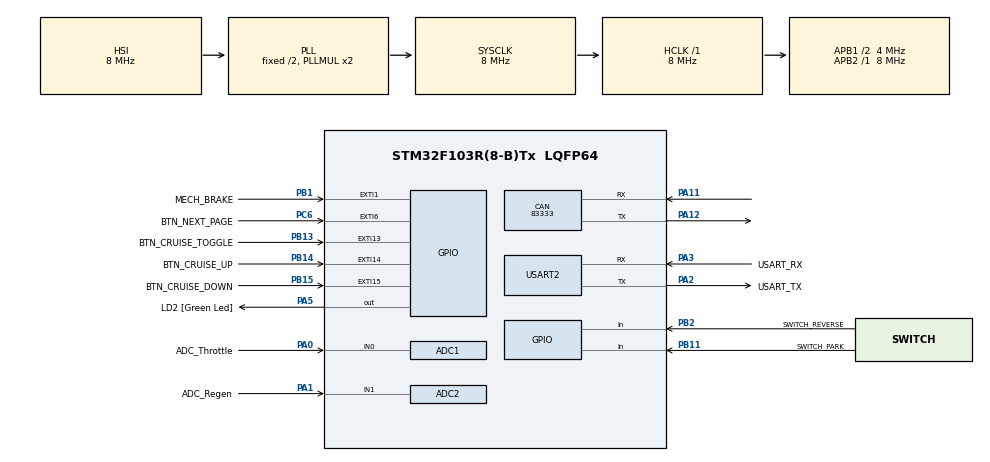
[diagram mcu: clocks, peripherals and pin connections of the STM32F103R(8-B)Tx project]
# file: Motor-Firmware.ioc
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ADC1.Channel-0\#ChannelRegularConversion=ADC_CHANNEL_0
ADC1.NbrOfConversionFlag=1
ADC1.Rank-0\#ChannelRegularConversion=1
ADC1.SamplingTime-0\#ChannelRegularConversion=ADC_SAMPLETIME_1CYCLE_5
ADC1.master=1
ADC2.Channel-0\#ChannelRegularConversion=ADC_CHANNEL_1
ADC2.NbrOfConversionFlag=1
ADC2.Rank-0\#ChannelRegularConversion=1
ADC2.SamplingTime-0\#ChannelRegularConversion=ADC_SAMPLETIME_1CYCLE_5
CAN.CalculateBaudRate=83333
CAN.CalculateTimeBit=12000
CAN.CalculateTimeQuantum=4000.0
FREERTOS.HEAP_NUMBER=3
FREERTOS.Tasks01=defaultTask,24,128,StartDefaultTask,Default,NULL,Dynamic,NULL,NULL;UpdateFlags,24,128,updateFlags,Default,NULL,Dynamic,NULL,NULL;UpdateState,24,128,updateState,Default,NULL,Dynamic,NULL,NULL;SendMotorCommand,24,128,sendMotorCommand,Default,NULL,Dynamic,NULL,NULL;GetADCValues,24,128,getADCValues,Default,NULL,Dynamic,NULL,NULL;GetBatterySOC,24,128,getBatterySOC,Default,NULL,Dynamic,NULL,NULL;GetVelocity,24,128,getVelocity,Default,NULL,Dynamic,NULL,NULL
FREERTOS.configMAX_TASK_NAME_LEN=32
FREERTOS.configTOTAL_HEAP_SIZE=10000
Mcu.Family=STM32F1
Mcu.Name=STM32F103R(8-B)Tx
Mcu.Package=LQFP64
NVIC.EXTI15_10_IRQn=true\:5\:0\:false\:false\:true\:true\:true\:true\:true
NVIC.PriorityGroup=NVIC_PRIORITYGROUP_4
NVIC.TIM4_IRQn=true\:15\:0\:false\:false\:true\:false\:false\:true\:true
NVIC.TimeBase=TIM4_IRQn
NVIC.TimeBaseIP=TIM4
NVIC.USART2_IRQn=true\:5\:0\:false\:false\:true\:true\:true\:true\:true
PA0-WKUP.GPIO_Label=ADC_Throttle
PA0-WKUP.Signal=ADCx_IN0
PA1.GPIO_Label=ADC_Regen
PA1.Signal=ADCx_IN1
PA11.Mode=CAN_Activate
PA11.Signal=CAN_RX
PA12.Mode=CAN_Activate
PA12.Signal=CAN_TX
PA13.GPIO_Label=TMS
PA13.Mode=Serial_Wire
PA13.Signal=SYS_JTMS-SWDIO
PA14.GPIO_Label=TCK
PA14.Mode=Serial_Wire
PA14.Signal=SYS_JTCK-SWCLK
PA2.GPIO_Label=USART_TX
PA2.GPIO_Mode=GPIO_MODE_AF_PP
PA2.GPIO_PuPd=GPIO_NOPULL
PA2.GPIO_Speed=GPIO_SPEED_FREQ_LOW
PA2.Mode=Asynchronous
PA2.Signal=USART2_TX
PA3.GPIO_Label=USART_RX
PA3.GPIO_Mode=GPIO_MODE_AF_PP
PA3.GPIO_PuPd=GPIO_NOPULL
PA3.GPIO_Speed=GPIO_SPEED_FREQ_LOW
PA3.Mode=Asynchronous
PA3.Signal=USART2_RX
PA5.GPIO_Label=LD2 [Green Led]
PA5.GPIO_ModeDefaultOutputPP=GPIO_MODE_OUTPUT_PP
PA5.GPIO_PuPd=GPIO_NOPULL
PA5.GPIO_Speed=GPIO_SPEED_FREQ_LOW
PA5.Signal=GPIO_Output
PB1.GPIO_Label=MECH_BRAKE
PB1.GPIO_PuPd=GPIO_PULLDOWN
PB1.Signal=GPXTI1
PB11.GPIO_Label=SWITCH_PARK
PB11.GPIO_PuPd=GPIO_PULLDOWN
PB11.Signal=GPIO_Input
PB13.GPIO_Label=BTN_CRUISE_TOGGLE
PB13.GPIO_PuPd=GPIO_PULLDOWN
PB13.Signal=GPXTI13
PB14.GPIO_Label=BTN_CRUISE_UP
PB14.GPIO_PuPd=GPIO_PULLDOWN
PB14.Signal=GPXTI14
PB15.GPIO_Label=BTN_CRUISE_DOWN
PB15.GPIO_ModeDefaultEXTI=GPIO_MODE_IT_RISING
PB15.GPIO_PuPd=GPIO_PULLDOWN
PB15.Signal=GPXTI15
PB2.GPIO_Label=SWITCH_REVERSE
PB2.GPIO_PuPd=GPIO_PULLDOWN
PB2.Signal=GPIO_Input
PB3.GPIO_Label=SWO
PB3.Signal=SYS_JTDO-TRACESWO
PC14-OSC32_IN.Mode=LSE-External-Oscillator
PC14-OSC32_IN.Signal=RCC_OSC32_IN
PC15-OSC32_OUT.Mode=LSE-External-Oscillator
PC15-OSC32_OUT.Signal=RCC_OSC32_OUT
PC6.GPIO_Label=BTN_NEXT_PAGE
PC6.GPIO_PuPd=GPIO_PULLDOWN
PC6.Signal=GPXTI6
PD0-OSC_IN.Mode=HSE-External-Clock-Source
PD0-OSC_IN.Signal=RCC_OSC_IN
PD1-OSC_OUT.Mode=HSE-External-Clock-Source
PD1-OSC_OUT.Signal=RCC_OSC_OUT
ProjectManager.HeapSize=0x200
ProjectManager.StackSize=0x400
ProjectManager.TargetToolchain=STM32CubeIDE
RCC.AHBFreq_Value=8000000
RCC.APB1CLKDivider=RCC_HCLK_DIV2
RCC.APB1Freq_Value=4000000
RCC.APB1TimFreq_Value=8000000
RCC.APB2Freq_Value=8000000
RCC.APB2TimFreq_Value=8000000
RCC.HCLKFreq_Value=8000000
RCC.RTCClockSelection=RCC_RTCCLKSOURCE_LSE
RCC.SYSCLKFreq_VALUE=8000000
RCC.SYSCLKSource=RCC_SYSCLKSOURCE_PLLCLK
RCC.USBFreq_Value=8000000
SH.ADCx_IN0.0=ADC1_IN0,IN0
SH.ADCx_IN1.0=ADC2_IN1,IN1
USART2.VirtualMode=VM_ASYNC
VP_FREERTOS_VS_CMSIS_V2.Mode=CMSIS_V2
VP_SYS_VS_tim4.Mode=TIM4
board=NUCLEO-F103RB

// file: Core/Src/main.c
/* USER CODE BEGIN Header */
/**
  ******************************************************************************
  * @file           : main.c
  * @brief          : Main program body
  ******************************************************************************
  * @attention
  *
  * Copyright (c) 2023 STMicroelectronics.
  * All rights reserved.
  *
  * This software is licensed under terms that can be found in the LICENSE file
  * in the root directory of this software component.
  * If no LICENSE file comes with this software, it is provided AS-IS.
  *
  ******************************************************************************
  */
/* USER CODE END Header */
#include "main.h"
#include "cmsis_os.h"
#include "adc.h"
#include "can.h"
#include "usart.h"
#include "gpio.h"

void SystemClock_Config(void);
void MX_FREERTOS_Init(void);

int main(void)
{

  /* MCU Configuration--------------------------------------------------------*/

  /* Reset of all peripherals, Initializes the Flash interface and the Systick. */
  HAL_Init();

  /* Configure the system clock */
  SystemClock_Config();

  /* Initialize all configured peripherals */
  MX_GPIO_Init();
  MX_USART2_UART_Init();
  MX_ADC1_Init();
  MX_ADC2_Init();
  MX_CAN_Init();

  /* Init scheduler */
  osKernelInitialize();  /* Call init function for freertos objects (in freertos.c) */
  MX_FREERTOS_Init();

  /* Start scheduler */
  osKernelStart();

  /* We should never get here as control is now taken by the scheduler */
  /* Infinite loop */
  while (1)
  {

  }
}

void SystemClock_Config(void)
{
  RCC_OscInitTypeDef RCC_OscInitStruct = {0};
  RCC_ClkInitTypeDef RCC_ClkInitStruct = {0};
  RCC_PeriphCLKInitTypeDef PeriphClkInit = {0};

  /** Initializes the RCC Oscillators according to the specified parameters
  * in the RCC_OscInitTypeDef structure.
  */
  RCC_OscInitStruct.OscillatorType = RCC_OSCILLATORTYPE_HSI;
  RCC_OscInitStruct.HSIState = RCC_HSI_ON;
  RCC_OscInitStruct.HSICalibrationValue = RCC_HSICALIBRATION_DEFAULT;
  RCC_OscInitStruct.PLL.PLLState = RCC_PLL_ON;
  RCC_OscInitStruct.PLL.PLLSource = RCC_PLLSOURCE_HSI_DIV2;
  RCC_OscInitStruct.PLL.PLLMUL = RCC_PLL_MUL2;
  if (HAL_RCC_OscConfig(&RCC_OscInitStruct) != HAL_OK)
  {
    Error_Handler();
  }

  /** Initializes the CPU, AHB and APB buses clocks
  */
  RCC_ClkInitStruct.ClockType = RCC_CLOCKTYPE_HCLK|RCC_CLOCKTYPE_SYSCLK
                              |RCC_CLOCKTYPE_PCLK1|RCC_CLOCKTYPE_PCLK2;
  RCC_ClkInitStruct.SYSCLKSource = RCC_SYSCLKSOURCE_PLLCLK;
  RCC_ClkInitStruct.AHBCLKDivider = RCC_SYSCLK_DIV1;
  RCC_ClkInitStruct.APB1CLKDivider = RCC_HCLK_DIV2;
  RCC_ClkInitStruct.APB2CLKDivider = RCC_HCLK_DIV1;

  if (HAL_RCC_ClockConfig(&RCC_ClkInitStruct, FLASH_LATENCY_0) != HAL_OK)
  {
    Error_Handler();
  }
  PeriphClkInit.PeriphClockSelection = RCC_PERIPHCLK_ADC;
  PeriphClkInit.AdcClockSelection = RCC_ADCPCLK2_DIV2;
  if (HAL_RCCEx_PeriphCLKConfig(&PeriphClkInit) != HAL_OK)
  {
    Error_Handler();
  }
}

void HAL_TIM_PeriodElapsedCallback(TIM_HandleTypeDef *htim)
{
  if (htim->Instance == TIM4) {
    HAL_IncTick();
  }
}

void Error_Handler(void)
{
  __disable_irq();
  while (1)
  {
  }
}

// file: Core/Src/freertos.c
/* USER CODE BEGIN Header */
/**
  ******************************************************************************
  * File Name          : freertos.c
  * Description        : Code for freertos applications
  ******************************************************************************
  * @attention
  *
  * Copyright (c) 2023 STMicroelectronics.
  * All rights reserved.
  *
  * This software is licensed under terms that can be found in the LICENSE file
  * in the root directory of this software component.
  * If no LICENSE file comes with this software, it is provided AS-IS.
  *
  ******************************************************************************
  */

/* USER CODE END Header */

#include "FreeRTOS.h"
#include "task.h"
#include "main.h"
#include "cmsis_os.h"

/* USER CODE BEGIN Includes */
#include "usart.h"
#include "adc.h"
#include "can.h"
#include "mcb.h"
/* USER CODE END Includes */

/* USER CODE BEGIN Variables */
uint16_t ADC_throttle_val;
uint16_t ADC_regen_val;
uint8_t battery_soc; // Stores the charge of the battery, updated in a task.

/*
 *  These are global so I can view their value in the Live Expressions tab, will move to task later.
 */
float current;
float velocity;

/* USER CODE END Variables */
/* Definitions for defaultTask */
osThreadId_t defaultTaskHandle;
const osThreadAttr_t defaultTask_attributes = {
  .name = "defaultTask",
  .stack_size = 128 * 4,
  .priority = (osPriority_t) osPriorityNormal,
};
/* Definitions for UpdateFlags */
osThreadId_t UpdateFlagsHandle;
const osThreadAttr_t UpdateFlags_attributes = {
  .name = "UpdateFlags",
  .stack_size = 128 * 4,
  .priority = (osPriority_t) osPriorityNormal,
};
/* Definitions for UpdateState */
osThreadId_t UpdateStateHandle;
const osThreadAttr_t UpdateState_attributes = {
  .name = "UpdateState",
  .stack_size = 128 * 4,
  .priority = (osPriority_t) osPriorityNormal,
};
/* Definitions for SendMotorCommand */
osThreadId_t SendMotorCommandHandle;
const osThreadAttr_t SendMotorCommand_attributes = {
  .name = "SendMotorCommand",
  .stack_size = 128 * 4,
  .priority = (osPriority_t) osPriorityNormal,
};
/* Definitions for GetADCValues */
osThreadId_t GetADCValuesHandle;
const osThreadAttr_t GetADCValues_attributes = {
  .name = "GetADCValues",
  .stack_size = 128 * 4,
  .priority = (osPriority_t) osPriorityNormal,
};
/* Definitions for GetBatterySOC */
osThreadId_t GetBatterySOCHandle;
const osThreadAttr_t GetBatterySOC_attributes = {
  .name = "GetBatterySOC",
  .stack_size = 128 * 4,
  .priority = (osPriority_t) osPriorityNormal,
};
/* Definitions for GetVelocity */
osThreadId_t GetVelocityHandle;
const osThreadAttr_t GetVelocity_attributes = {
  .name = "GetVelocity",
  .stack_size = 128 * 4,
  .priority = (osPriority_t) osPriorityNormal,
};

void StartDefaultTask(void *argument);
void updateFlags(void *argument);
void updateState(void *argument);
void sendMotorCommand(void *argument);
void getADCValues(void *argument);
void getBatterySOC(void *argument);
void getVelocity(void *argument);

void MX_FREERTOS_Init(void); /* (MISRA C 2004 rule 8.1) */

void MX_FREERTOS_Init(void) {

  /* Create the thread(s) */
  /* creation of defaultTask */
  defaultTaskHandle = osThreadNew(StartDefaultTask, NULL, &defaultTask_attributes);

  /* creation of UpdateFlags */
  UpdateFlagsHandle = osThreadNew(updateFlags, NULL, &UpdateFlags_attributes);

  /* creation of UpdateState */
  UpdateStateHandle = osThreadNew(updateState, NULL, &UpdateState_attributes);

  /* creation of SendMotorCommand */
  SendMotorCommandHandle = osThreadNew(sendMotorCommand, NULL, &SendMotorCommand_attributes);

  /* creation of GetADCValues */
  GetADCValuesHandle = osThreadNew(getADCValues, NULL, &GetADCValues_attributes);

  /* creation of GetBatterySOC */
  GetBatterySOCHandle = osThreadNew(getBatterySOC, NULL, &GetBatterySOC_attributes);

  /* creation of GetVelocity */
  GetVelocityHandle = osThreadNew(getVelocity, NULL, &GetVelocity_attributes);

}

/* USER CODE BEGIN Header_StartDefaultTask */
/**
  * @brief  Task for debugging
  * @param  argument: Not used
  * @retval None
  */
/* USER CODE END Header_StartDefaultTask */
void StartDefaultTask(void *argument)
{
  /* USER CODE BEGIN StartDefaultTask */
  /* Infinite loop */
  for(;;)
  {
	 HAL_GPIO_TogglePin(GPIOA, GPIO_PIN_5);
     osDelay(500);
  }
  /* USER CODE END StartDefaultTask */
}

/* USER CODE BEGIN Header_updateFlags */
/**
* @brief Task for updating certain event flags based on GPIO inputs or variables in other tasks.
* @param argument: Not used
* @retval None
*/
/* USER CODE END Header_updateFlags */
void updateFlags(void *argument)
{
	/* USER CODE BEGIN updateFlags */
	/* Infinite loop */
	for(;;)
	{
		event_flags.mech_brake_pressed = HAL_GPIO_ReadPin(MECH_BRAKE_GPIO_Port, MECH_BRAKE_Pin);
		event_flags.park_enabled = HAL_GPIO_ReadPin(SWITCH_PARK_GPIO_Port, SWITCH_PARK_Pin);
		event_flags.reverse_enabled = HAL_GPIO_ReadPin(SWITCH_REVERSE_GPIO_Port, SWITCH_REVERSE_Pin);

		event_flags.velocity_under_threshold = (velocity_of_car < MIN_REVERSE_VELOCITY);
		event_flags.charge_under_threshold = (battery_soc < BATTERY_SOC_THRESHOLD);
		osDelay(UPDATE_FLAGS_DELAY);
	}
	/* USER CODE END updateFlags */
}

/* USER CODE BEGIN Header_updateState */
/**
* @brief Task for setting the state based on the given event_flags.
* @param argument: Not used
* @retval None
*/
/* USER CODE END Header_updateState */
void updateState(void *argument)
{
  /* USER CODE BEGIN updateState */
  /* Infinite loop */
	for(;;)
	  {
		  /*
		   *  Conditional statement is intentially organized in a hierarchical structure.
		   *  If there are two valid states based on the given event_flags, the higher one will take priority.
		   *  Ex: If throttle and regen are both pressed, the state will be in regen because it has the higher priority.
		   */
		  if (event_flags.park_enabled && (state == IDLE || state == PARK))
			  state = PARK;
		  else if (event_flags.mech_brake_pressed)
			  state = IDLE;
		  else if (event_flags.regen_pressed && event_flags.charge_under_threshold)
		  	  state = REGEN;
		  else if (event_flags.cruise_enabled && cruise_accelerate_enabled)
		  	  state = CRUISE_ACCELERATE;
		  else if (event_flags.cruise_enabled)
		      state = CRUISE;
		  else if (event_flags.reverse_enabled && event_flags.velocity_under_threshold && state != PARK)
			  state = REVERSE;
		  else if (event_flags.throttle_pressed)
		      state = DRIVE;
		  else
		  	  state = IDLE;

		  osDelay(UPDATE_STATE_DELAY);
	  }
  /* USER CODE END updateState */
}

/* USER CODE BEGIN Header_sendMotorCommand */
/**
* @brief Task for sending Motor commands via CAN based on the current state
* @param argument: Not used
* @retval None
*/
/* USER CODE END Header_sendMotorCommand */
void sendMotorCommand(void *argument)
{
	/* USER CODE BEGIN sendMotorCommand */
	/* Infinite loop */
	for(;;)
	{
		if(state == PARK)
		{
			velocity = 0.0;
			current = 1.0;
		}
		else if(state == REGEN)
	    {
	    	velocity = 0.0;
	    	current = NormalizeADCValue(ADC_regen_val);
	    }
	    else if(state == DRIVE)
	    {
	    	velocity = 100.0;
	    	current = NormalizeADCValue(ADC_throttle_val);
	    }
	    else if(state == REVERSE)
	    {
	    	velocity = -100.0;
	    	current = NormalizeADCValue(ADC_throttle_val);
	    }
	    else if (state == CRUISE)
	    {
	    	velocity = cruise_velocity;
	    	current = 1.0;
	    }
		else if (state == CRUISE_ACCELERATE)
		{
			velocity = 100.0;
			current = NormalizeADCValue(ADC_throttle_val);
		}
	    else
	    {
	    	velocity = 0.0;
	    	current = 0.0;
	    }
		SendCANMotorCommand(velocity, current);
	    osDelay(SEND_MOTOR_COMMAND_DELAY);
	}
	/* USER CODE END sendMotorCommand */
}

/* USER CODE BEGIN Header_getADCValues */
/**
* @brief Gets the throttle and regen ADC values and updates relevent event flags
* @param argument: Not used
* @retval None
*/
/* USER CODE END Header_getADCValues */
void getADCValues(void *argument)
{
  /* USER CODE BEGIN getADCValues */
  /* Infinite loop */
  for(;;)
  {
	// Get ADC value for throttle and sets event flags
	ADC_throttle_val = ReadADC(&hadc1);
	event_flags.throttle_pressed = ADC_throttle_val > ADC_DEADZONE;
	event_flags.cruise_accelerate_enabled = NormalizeADCValue(ADC_throttle_val) > CRUISE_CURRENT;

	// Gets ADC value for regen and sets event flags
	ADC_regen_val = ReadADC(&hadc2);
	event_flags.regen_pressed = ADC_regen_val > ADC_DEADZONE;
	if(ADC_regen_val > ADC_DEADZONE)
		event_flags.cruise_enabled = FALSE;

    osDelay(GET_ADC_VALUES_DELAY);
  }
  /* USER CODE END getADCValues */
}

/* USER CODE BEGIN Header_getBatterySOC */
/**
* @brief Gets battery state of charge from incoming CAN messages.
* @param argument: Not used
* @retval None
*/
/* USER CODE END Header_getBatterySOC */
void getBatterySOC(void *argument)
{
	/* USER CODE BEGIN getBatterySOC */
	uint8_t battery_msg_data[8];
	/* Infinite loop */
	for(;;)
	{
		if (HAL_CAN_GetRxFifoFillLevel(&hcan, CAN_RX_FIFO0))
		{
			// there are multiple CAN IDs being passed through the filter, check if the message is the SOC
			HAL_CAN_GetRxMessage(&hcan, CAN_RX_FIFO0, &can_rx_header, battery_msg_data);
			if (can_rx_header.StdId == 0x626)
			{
				// if the battery SOC is out of range, assume it is at 100% as a safety measure
				if (battery_msg_data[0] < BATTERY_SOC_EMPTY || battery_msg_data[0] > BATTERY_SOC_FULL)
					battery_soc = BATTERY_SOC_FULL;
				else
					battery_soc = battery_msg_data[0];
			}

	  		osDelay(GET_BATTERY_SOC_DELAY);
		}
	}
	/* USER CODE END getBatterySOC */
}

/* USER CODE BEGIN Header_getVelocity */
/**
* @brief Gets the velocity of the car from incoming CAN messages
* @param argument: Not used
* @retval None
*/
/* USER CODE END Header_getVelocity */
void getVelocity(void *argument)
{
	/* USER CODE BEGIN getVelocity */
	uint8_t CAN_message[8];
	FloatBytes velocity;
	/* Infinite loop */
	for(;;)
	{
		if (HAL_CAN_GetRxFifoFillLevel(&hcan, CAN_RX_FIFO0))
		{
			// there are multiple CAN IDs being passed through the filter, check if the message is the SOC
			HAL_CAN_GetRxMessage(&hcan, CAN_RX_FIFO0, &can_rx_header, CAN_message);
			if (can_rx_header.StdId == 0x503)
			{
				for(int i = 0; i < (sizeof(float)/sizeof(uint8_t)); i++)
				{
					velocity.bytes[i] = CAN_message[i+4]; // Vechicle Velocity is stored in bits 32-63.
				}
				velocity_of_car = velocity.float_value;
			}
		}
		osDelay(GET_VELOCITY_DELAY);
	}
	/* USER CODE END getVelocity */
}
